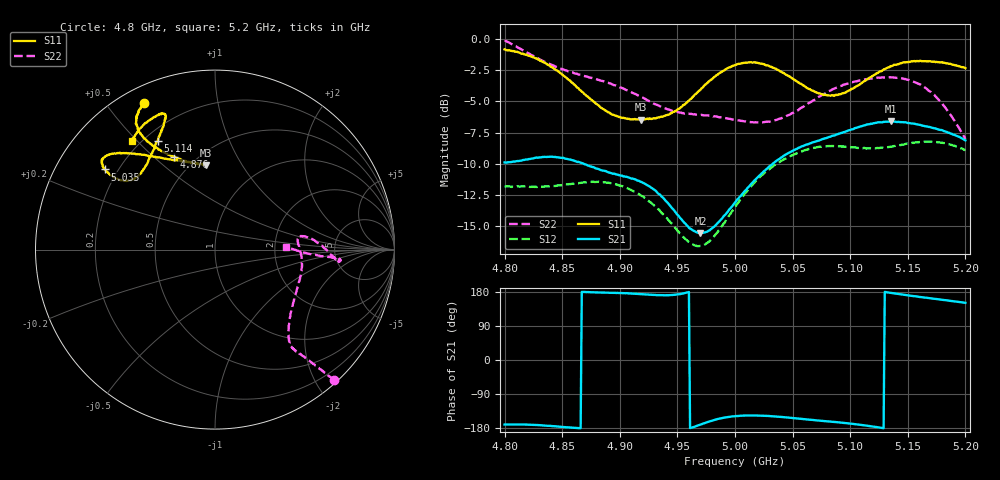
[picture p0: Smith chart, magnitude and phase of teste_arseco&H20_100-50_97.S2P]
! Network Analyzer HP8722D
! Hewlett-Packard
! Data name: Linha & Wilkinson
! Saver's name: Rodrigo Anjos
! Comments: Teste da utilização de aquisição
! continua pelo VNA HP8722D
! Time and date: 6/5/2025 13:22
!  Frequency  S11  S21  S12  S22
# HZ  S  MA R 50
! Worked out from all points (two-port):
!   401 points, 4.8 GHz to 5.2 GHz, reference 50 ohm
!   highest |S21| = -6.60 dB at 5.135 GHz (marker M1); lowest = -15.5 dB at 4.97 GHz (marker M2)
!   |S21| within 3 dB of the highest: 4.822 GHz to 4.854 GHz (31.53 MHz wide, 0.652 % of centre); 5.039 GHz to end of sweep
!   lowest |S11| = -6.5 dB at 4.918 GHz (marker M3), VSWR 2.81, Z = 29.1 + j35.5 ohm
!   |S11| at or under -10 dB: nowhere
!   |S22| runs from -8.0 to -0.1 dB; largest |S21 - S12| = 0.83
!   S11 on the Smith chart (normalised r, x): 4.8 GHz: 0.07, +0.62; 4.876 GHz: 0.38, +0.58; 5.035 GHz: 0.15, +0.32; 5.114 GHz: 0.25, +0.57; 5.2 GHz: 0.17, +0.48
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4.8e9  0.9067 115.9  0.3203 -170.3  0.2568 -86.2  0.9845 -47.5
4.821e9  0.8562 120.8  0.3306 -170.6  0.2567 -81.3  0.873 -48.9
4.837e9  0.7891 122.8  0.337 -173.7  0.257 -75.9  0.7997 -49.8
4.867e9  0.6148 118.0  0.3186 179.7  0.2659 -67.4  0.715 -51.5
4.876e9  0.5671 114.0  0.3071 178.6  0.2678 -66.4  0.6969 -51.9
4.901e9  0.4843 100.7  0.2836 176.7  0.2581 -66.8  0.6379 -50.0
4.918e9  0.4751 96.3  0.2679 173.8  0.2367 -68.7  0.5864 -45.1
4.934e9  0.4844 99.1  0.2392 171.2  0.2073 -69.5  0.5389 -37.6
4.951e9  0.5246 110.2  0.196 173.3  0.1694 -65.1  0.5078 -26.2
4.97e9  0.6258 123.9  0.1669 -170.5  0.1486 -46.6  0.4954 -14.5
4.98e9  0.6897 129.6  0.1744 -160.1  0.1587 -35.1  0.4914 -9.3
5e9  0.7854 137.2  0.2212 -148.5  0.213 -21.4  0.4734 -0.4
5.018e9  0.8031 141.7  0.2744 -146.4  0.2698 -18.3  0.4635 5.7
5.035e9  0.7597 144.0  0.3224 -149.0  0.3136 -18.3  0.4729 8.8
5.067e9  0.6213 141.9  0.3847 -158.0  0.3653 -20.6  0.5631 4.6
5.088e9  0.5964 133.1  0.414 -163.9  0.3719 -23.8  0.6368 -1.8
5.114e9  0.6846 117.9  0.4532 -173.2  0.364 -26.6  0.6886 -5.2
5.134e9  0.7699 111.3  0.4657 177.8  0.3695 -28.7  0.7008 -4.7
5.135e9  0.7772 111.1  0.4675 177.3  0.3702 -28.8  0.7018 -4.7
5.163e9  0.8137 113.1  0.449 165.5  0.387 -35.7  0.6459 -3.7
5.181e9  0.8013 119.4  0.428 158.5  0.3831 -41.3  0.5411 -2.9
5.2e9  0.7629 127.4  0.3924 150.9  0.3592 -46.4  0.3975 2.4
